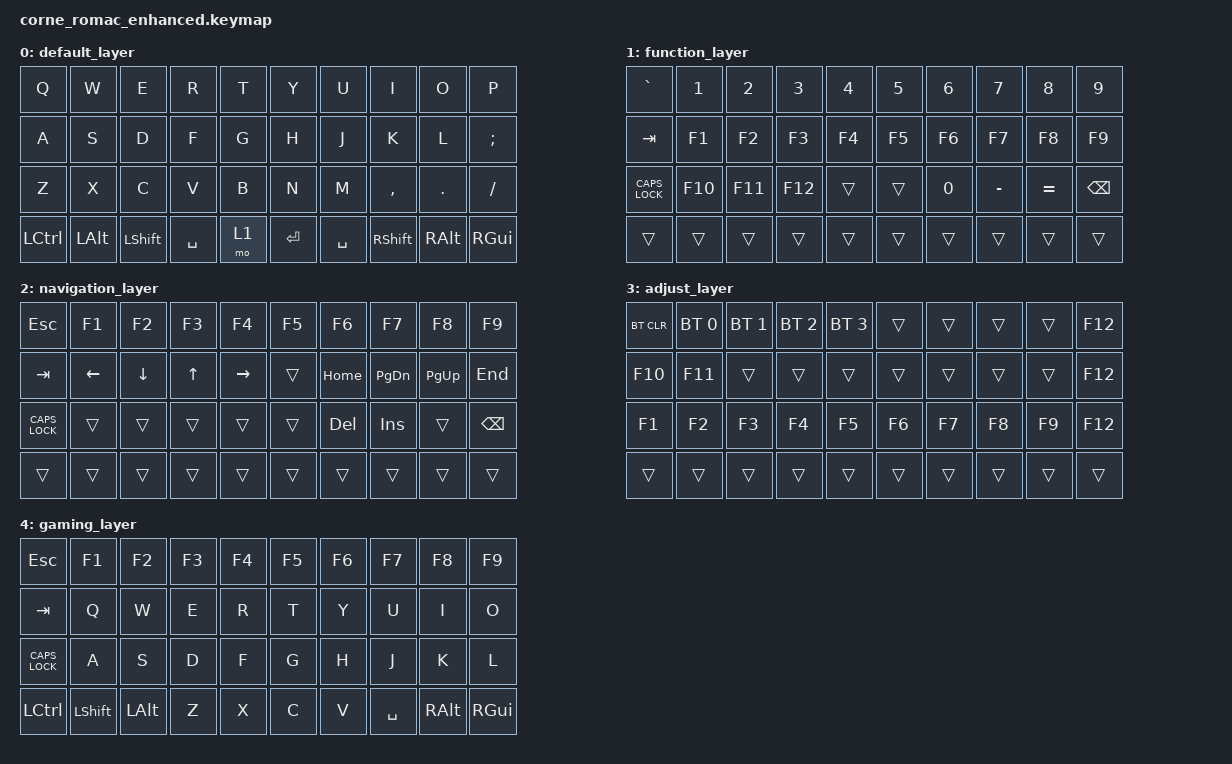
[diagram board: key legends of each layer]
/*
 * Copyright (c) 2020 The ZMK Contributors
 *
 * SPDX-License-Identifier: MIT
 */

#include <dt-bindings/zmk/keys.h>
#include <dt-bindings/zmk/bt.h>
#include <dt-bindings/zmk/layers.h>
#include <dt-bindings/zmk/extPower.h>

/ {
    keymap {
        compatible = "zmk,keymap";

        // 0: 默认层 - QWERTY 布局
        default_layer {
            bindings = <
                &kp Q    &kp W    &kp E    &kp R    &kp T    &kp Y    &kp U    &kp I    &kp O    &kp P
                &kp A    &kp S    &kp D    &kp F    &kp G    &kp H    &kp J    &kp K    &kp L    &kp SEMICOLON
                &kp Z    &kp X    &kp C    &kp V    &kp B    &kp N    &kp M    &kp COMMA &kp DOT  &kp SLASH
                &kp LEFT_CONTROL &kp LEFT_ALT &kp LEFT_SHIFT &kp SPACE &mo 1 &kp ENTER &kp SPACE &kp RIGHT_SHIFT &kp RIGHT_ALT &kp RIGHT_GUI
            >;
        };

        // 1: 功能层 - 数字、符号和功能键
        function_layer {
            bindings = <
                &kp GRAVE &kp N1 &kp N2 &kp N3 &kp N4 &kp N5 &kp N6 &kp N7 &kp N8 &kp N9
                &kp TAB &kp F1 &kp F2 &kp F3 &kp F4 &kp F5 &kp F6 &kp F7 &kp F8 &kp F9
                &kp CAPS_LOCK &kp F10 &kp F11 &kp F12 &trans &trans &kp N0 &kp MINUS &kp EQUAL &kp BACKSPACE
                &trans &trans &trans &trans &trans &trans &trans &trans &trans &trans
            >;
        };

        // 2: 导航层 - 方向键和媒体控制
        navigation_layer {
            bindings = <
                &kp ESC &kp F1 &kp F2 &kp F3 &kp F4 &kp F5 &kp F6 &kp F7 &kp F8 &kp F9
                &kp TAB &kp LEFT &kp DOWN &kp UP &kp RIGHT &trans &kp HOME &kp PAGE_DOWN &kp PAGE_UP &kp END
                &kp CAPS_LOCK &trans &trans &trans &trans &trans &kp DELETE &kp INSERT &trans &kp BACKSPACE
                &trans &trans &trans &trans &trans &trans &trans &trans &trans &trans
            >;
        };

        // 3: 调整层 - 蓝牙和系统设置
        adjust_layer {
            bindings = <
                &bt BT_CLR &bt BT_SEL 0 &bt BT_SEL 1 &bt BT_SEL 2 &bt BT_SEL 3 &trans &trans &trans &trans &kp F12
                &kp F10 &kp F11 &trans &trans &trans &trans &trans &trans &trans &kp F12
                &kp F1 &kp F2 &kp F3 &kp F4 &kp F5 &kp F6 &kp F7 &kp F8 &kp F9 &kp F12
                &trans &trans &trans &trans &trans &trans &trans &trans &trans &trans
            >;
        };

        // 4: 游戏层 - WASD布局
        gaming_layer {
            bindings = <
                &kp ESC &kp F1 &kp F2 &kp F3 &kp F4 &kp F5 &kp F6 &kp F7 &kp F8 &kp F9
                &kp TAB &kp Q &kp W &kp E &kp R &kp T &kp Y &kp U &kp I &kp O
                &kp CAPS_LOCK &kp A &kp S &kp D &kp F &kp G &kp H &kp J &kp K &kp L
                &kp LEFT_CONTROL &kp LEFT_SHIFT &kp LEFT_ALT &kp Z &kp X &kp C &kp V &kp SPACE &kp RIGHT_ALT &kp RIGHT_GUI
            >;
        };
    };
};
